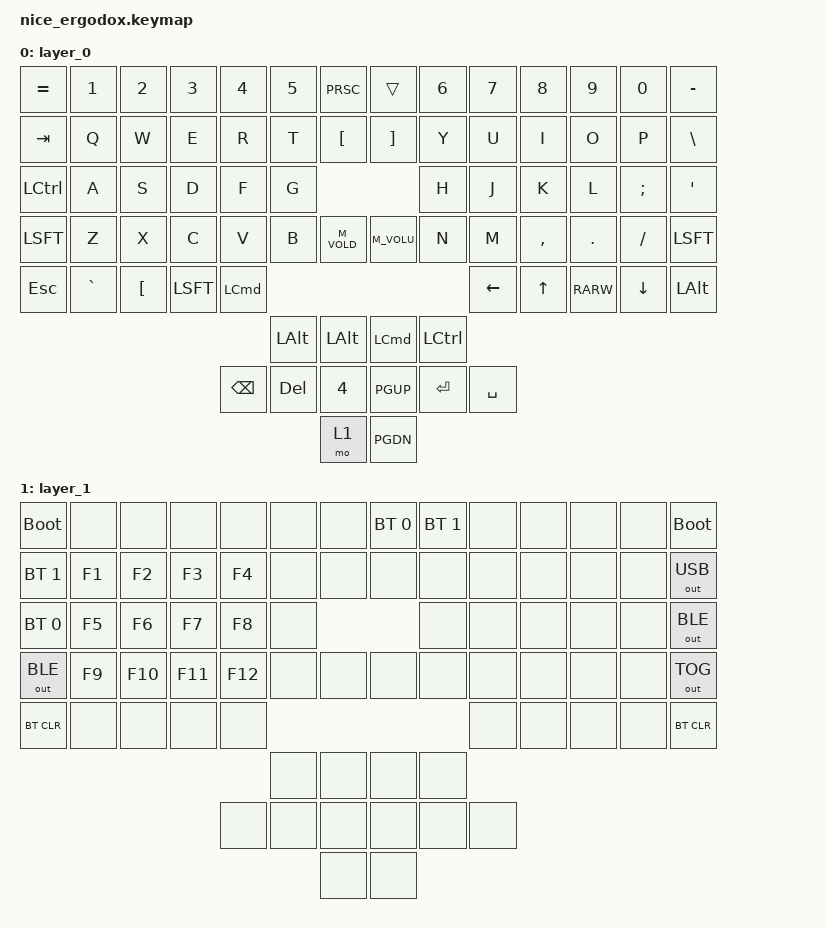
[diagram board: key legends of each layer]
/*
 * Copyright (c) 2020 The ZMK Contributors
 *
 * SPDX-License-Identifier: MIT
 */
// 
//  &kp C_PLAY &kp HOME   &kp END    &kp INS
// &kp BKSP   &kp DEL    &kp PGUP   &kp PGDN   &kp RET   &kp SPC 
// 						&kp LGUI   &mo 1

#include <behaviors.dtsi>
#include <dt-bindings/zmk/keys.h>
#include <dt-bindings/zmk/bt.h>
#include <dt-bindings/zmk/outputs.h>

/ {
	keymap {
		compatible = "zmk,keymap";
		layer_0 {
			bindings = <
	&kp EQL    &kp NUM_1  &kp NUM_2  &kp NUM_3  &kp NUM_4  &kp NUM_5  &kp PRSC   &trans     &kp NUM_6  &kp NUM_7  &kp NUM_8  &kp NUM_9  &kp NUM_0  &kp MINUS
	&kp TAB    &kp Q      &kp W      &kp E      &kp R      &kp T      &kp LBKT   &kp RBKT   &kp Y      &kp U      &kp I      &kp O      &kp P      &kp BSLH
	&kp LCTRL  &kp A      &kp S      &kp D      &kp F      &kp G                            &kp H      &kp J      &kp K      &kp L      &kp SCLN   &kp QUOT
	&kp LSFT   &kp Z      &kp X      &kp C      &kp V      &kp B      &kp M_VOLD &kp M_VOLU &kp N      &kp M      &kp CMMA   &kp DOT    &kp FSLH   &kp LSFT
	&kp ESC    &kp GRAV   &kp LBKT   &kp LSFT   &kp LCMD                                               &kp LEFT   &kp UP     &kp RARW   &kp DOWN   &kp LALT
	                                                       &kp LALT &kp LALT    &kp LCMD  &kp LCTRL
	                                            &kp BKSP   &kp DEL  &kp NUM_4   &kp PGUP  &kp RET      &kp SPC
	                                                                &mo 1       &kp PGDN
			>;
		};
		layer_1 {
			bindings = <                                                                    // 7    //  8
	&bootloader      &none    &none      &none      &none      &none    &none      &bt BT_SEL 0 &bt BT_SEL 1 &none      &none      &none    &none  &bootloader
	&bt BT_SEL 1            &kp F1   &kp F2     &kp F3     &kp F4     &none    &none      &none        &none        &none      &none      &none      &none      &out OUT_USB
	&bt BT_SEL 0     &kp F5   &kp F6     &kp F7     &kp F8     &none                            &none        &none      &none      &none      &none      &out OUT_BLE
  &out OUT_BLE     &kp F9   &kp F10    &kp F11    &kp F12    &none    &none      &none        &none        &none      &none      &none      &none      &out OUT_TOG
	&bt BT_CLR       &none    &none      &none      &none                                               &none      &none      &none      &none      &bt BT_CLR
	                                                       &none      &none      &none      &none
	                                            &none      &none      &none            &none      &none      &none
	                                                                  &none            &none
			>;
		};
	};
};
